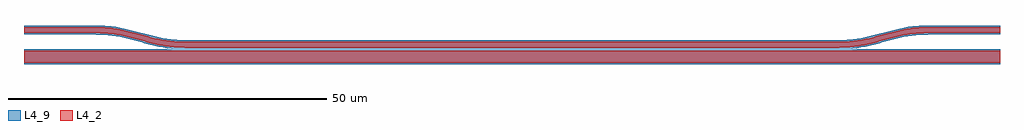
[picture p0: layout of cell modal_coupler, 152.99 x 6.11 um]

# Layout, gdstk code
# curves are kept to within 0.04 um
import gdstk
lib = gdstk.Library(unit=1e-6, precision=5e-09)
def R(c, l, rs):  # rectangles x0, y0, x1, y1
    for r in rs: c.add(gdstk.rectangle(r[:2], r[2:], *l))
def P(c, l, *ps):  # polygons
    for p in ps: c.add(gdstk.Polygon(p, *l))
L4_2 = (4, 2)
L4_9 = (4, 9)

directional_coupler_wg1a = lib.new_cell('Directional_coupler_wg1a')
R(directional_coupler_wg1a, L4_2, [(-50,-1.9,0,0)])
P(directional_coupler_wg1a, L4_9, [(-50,-2.15),(0,-2.15),(0,-1.9),(0,0),(0,0.25),(-50,0.25),(-50,0),(-50,-1.9)])

directional_coupler_wg2a = lib.new_cell('Directional_coupler_wg2a')
R(directional_coupler_wg2a, L4_2, [(-50,0.5,0,1.4)])
P(directional_coupler_wg2a, L4_9, [(-50,0.25),(0,0.25),(0,0.5),(0,1.4),(0,1.65),(-50,1.65),(-50,1.4),(-50,0.5)])

directional_coupler_wg1b = lib.new_cell('Directional_coupler_wg1b')
R(directional_coupler_wg1b, L4_2, [(0,-1.9,50,0)])
P(directional_coupler_wg1b, L4_9, [(0,-2.15),(50,-2.15),(50,-1.9),(50,0),(50,0.25),(0,0.25),(0,0),(0,-1.9)])

directional_coupler_wg2b = lib.new_cell('Directional_coupler_wg2b')
R(directional_coupler_wg2b, L4_2, [(0,0.5,50,1.4)])
P(directional_coupler_wg2b, L4_9, [(0,0.25),(50,0.25),(50,0.5),(50,1.4),(50,1.65),(0,1.65),(0,1.4),(0,0.5)])

directional_coupler = lib.new_cell('Directional_coupler')
directional_coupler.add(gdstk.Reference(directional_coupler_wg1a, (0,0)))
directional_coupler.add(gdstk.Reference(directional_coupler_wg2a, (0,0)))
directional_coupler.add(gdstk.Reference(directional_coupler_wg1b, (0,0)))
directional_coupler.add(gdstk.Reference(directional_coupler_wg2b, (0,0)))

modal_coupler_wg_in1 = lib.new_cell('modal_coupler_wg_in1')
R(modal_coupler_wg_in1, L4_2, [(-76.495,-1.9,-50,0)])
P(modal_coupler_wg_in1, L4_9, [(-50,0.25),(-76.495,0.25),(-76.495,0),(-76.495,-1.9),(-76.495,-2.15),(-50,-2.15),(-50,-1.9),(-50,0)])

modal_coupler_wg_in2 = lib.new_cell('modal_coupler_wg_in2')
P(modal_coupler_wg_in2, L4_2, [(-50,1.4),(-52.595,1.45),(-54.5,1.665),(-56.07,1.995),(-60.535,3.16),(-62.175,3.48),(-63.515,3.63),(-66.165,3.705),(-76.495,3.705),(-76.495,2.805),(-66.17,2.805),(-63.26,2.705),(-61.995,2.54),(-60.74,2.28),(-55.31,0.9),(-53.315,0.6),(-50,0.5)])
P(modal_coupler_wg_in2, L4_9, [(-50,1.65),(-52.58,1.7),(-54.455,1.91),(-56.015,2.24),(-60.805,3.475),(-62.14,3.73),(-63.495,3.88),(-66.165,3.955),(-76.495,3.955),(-76.495,2.555),(-66.17,2.555),(-63.6,2.485),(-61.415,2.175),(-56.02,0.8),(-54.695,0.53),(-53.34,0.35),(-50,0.25)])

modal_coupler_wg_out1 = lib.new_cell('modal_coupler_wg_out1')
R(modal_coupler_wg_out1, L4_2, [(50,-1.9,76.495,0)])
P(modal_coupler_wg_out1, L4_9, [(50,-2.15),(76.495,-2.15),(76.495,-1.9),(76.495,0),(76.495,0.25),(50,0.25),(50,0),(50,-1.9)])

modal_coupler_wg_out2 = lib.new_cell('modal_coupler_wg_out2')
P(modal_coupler_wg_out2, L4_2, [(50,0.5),(52.65,0.55),(54.65,0.775),(55.96,1.045),(61.05,2.35),(63.26,2.705),(66.17,2.805),(76.495,2.805),(76.495,3.705),(65.51,3.7),(64.18,3.67),(62.51,3.53),(60.535,3.16),(56.07,1.995),(54.5,1.665),(52.595,1.45),(50,1.4)])
P(modal_coupler_wg_out2, L4_9, [(50,0.25),(52.665,0.3),(54.695,0.53),(56.67,0.96),(61.105,2.11),(62.35,2.345),(63.6,2.485),(66.17,2.555),(76.495,2.555),(76.495,3.955),(64.84,3.94),(63.495,3.88),(62.14,3.73),(60.15,3.325),(56.015,2.24),(54.455,1.91),(52.58,1.7),(50,1.65)])

modal_coupler = lib.new_cell('modal_coupler')
modal_coupler.add(gdstk.Reference(directional_coupler, (0,0)))
modal_coupler.add(gdstk.Reference(modal_coupler_wg_in1, (0,0)))
modal_coupler.add(gdstk.Reference(modal_coupler_wg_in2, (0,0)))
modal_coupler.add(gdstk.Reference(modal_coupler_wg_out1, (0,0)))
modal_coupler.add(gdstk.Reference(modal_coupler_wg_out2, (0,0)))

lib.write_gds('modal_coupler.gds')
